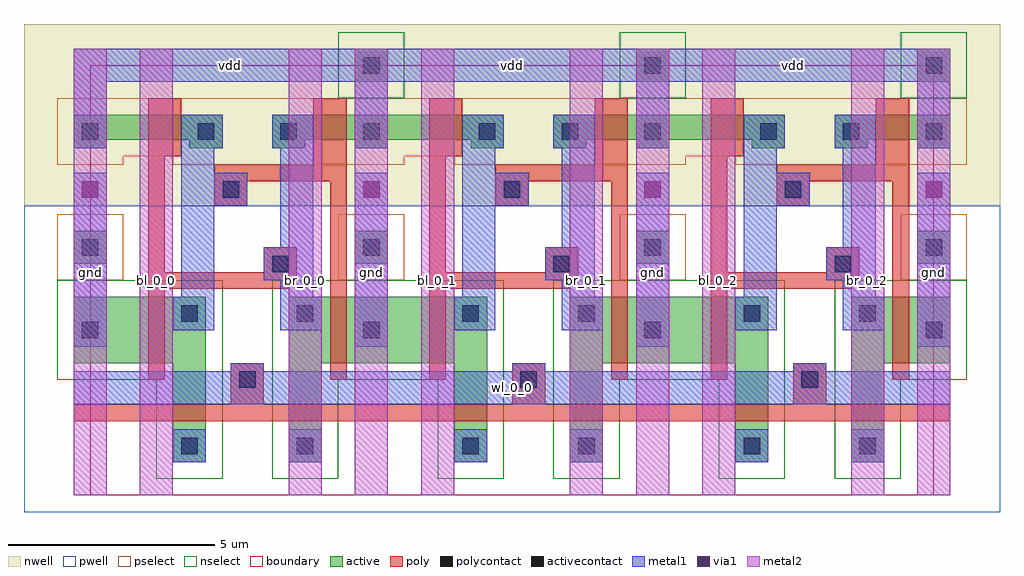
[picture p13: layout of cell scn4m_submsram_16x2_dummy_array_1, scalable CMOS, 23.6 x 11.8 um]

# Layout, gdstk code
import gdstk
lib = gdstk.Library(unit=1e-6, precision=1e-09)
def R(c, l, rs):  # rectangles x0, y0, x1, y1
    for r in rs: c.add(gdstk.rectangle(r[:2], r[2:], *l))
def A(c, l, x, y, w, h, nx, ny, dx, dy):  # array of equal rectangles
    R(c, l, [(x+i*dx, y+j*dy, x+i*dx+w, y+j*dy+h) for i in range(nx) for j in range(ny)])
pwell = (41, 0)
nwell = (42, 0)
active = (43, 0)
pselect = (44, 0)
nselect = (45, 0)
poly = (46, 0)
polycontact = (47, 0)
activecontact = (48, 0)
metal1 = (49, 0)
via1 = (50, 0)
metal2 = (51, 0)
boundary = (63, 0)

dummy_cell_1rw = lib.new_cell('dummy_cell_1rw')
R(dummy_cell_1rw, pwell, [(-1.6,-0.4,8.4,7)])
R(dummy_cell_1rw, nwell, [(-1.6,7,8.4,11.4)])
A(dummy_cell_1rw, active, 2.4, 8.4, 0.8, 0.2, 3, 1, 2, 0)
R(dummy_cell_1rw, active, [(2,0.8,2.8,3.2), (4.8,0.8,5.6,3.2), (-0.4,3.2,2.8,4.8), (4.8,3.2,7.2,4.8), (-0.4,5.6,0.4,6.4), (6.4,5.6,7.2,6.4), (-0.4,8.4,0.4,8.6), (-0.4,8.6,3.2,9.2), (4.4,8.6,7.2,9.2), (6.4,10,7.2,10.8)])
R(dummy_cell_1rw, pselect, [(-0.8,5.2,0.8,6.8), (6,5.2,7.6,6.8), (-0.8,8,0.8,8.2), (2,8,7.6,8.2), (-0.8,8.2,7.6,9.6)])
R(dummy_cell_1rw, nselect, [(1.6,0.4,3.2,2.8), (4.4,0.4,6,2.8), (-0.8,2.8,3.2,5.2), (4.4,2.8,7.6,5.2), (6,9.6,7.6,11.2)])
R(dummy_cell_1rw, poly, [(-0.4,1.8,7.2,2.2), (3.4,2.2,4.2,3.2), (1.4,2.8,1.8,5), (5.8,2.8,6.2,7.6), (1.4,5,4.8,5.2), (1.4,5.2,5,5.4), (1.4,5.4,1.8,8.2), (4.2,5.4,5,6), (3,7,3.8,7.6), (3,7.6,6.2,8), (5.4,8,6.2,9.6), (1.4,8.2,2.2,9.6)])
R(dummy_cell_1rw, polycontact, [(3.6,2.6,4,3), (4.4,5.4,4.8,5.8), (3.2,7.2,3.6,7.6)])
A(dummy_cell_1rw, activecontact, 2.6, 8.6, 0.4, 0.4, 3, 1, 2, 0)
R(dummy_cell_1rw, activecontact, [(2.2,1,2.6,1.4), (5,1,5.4,1.4), (-0.2,3.8,0.2,4.2), (6.6,3.8,7,4.2), (2.2,4.2,2.6,4.6), (5,4.2,5.4,4.6), (-0.2,5.8,0.2,6.2), (6.6,5.8,7,6.2), (-0.2,8.6,0.2,9), (6.6,10.2,7,10.6)])
R(dummy_cell_1rw, metal1, [(2,0.8,2.8,1.6), (4.8,0.8,5.6,1.6), (-0.4,2.2,7.2,3), (-0.4,2.2,7.2,3), (3.4,3,4.2,3.2), (-0.4,3.6,0.4,7.8), (6.4,3.6,7.2,7.8), (2,4,3,4.8), (4.6,4,5.6,4.8), (2.2,4.8,3,7), (4.6,4.8,5.4,5.2), (4.2,5.2,5.4,6), (4.6,6,5.4,8.4), (2.2,7,3.8,7.8), (2.2,7.8,3,8.4), (-0.4,8.4,0.4,10), (2.2,8.4,3.2,9.2), (4.4,8.4,5.4,9.2), (6.4,8.4,7.2,10), (-0.4,10,7.2,10.8), (-0.4,10,7.2,10.8)])
R(dummy_cell_1rw, via1, [(-0.2,7.2,0.2,7.6), (6.6,7.2,7,7.6)])
R(dummy_cell_1rw, metal2, [(-0.4,0,0.4,10.8), (-0.4,0,0.4,10.8), (1.2,0,2,10.8), (1.2,0,2,10.8), (4.8,0,5.6,10.8), (4.8,0,5.6,10.8), (6.4,0,7.2,10.8), (6.4,0,7.2,10.8)])
R(dummy_cell_1rw, boundary, [(0,0,6.8,10.4)])
dummy_cell_1rw.add(gdstk.Label('vdd', (3.34,10.4), layer=49, texttype=0))
dummy_cell_1rw.add(gdstk.Label('wl', (0.8,2.6), layer=49, texttype=0))
dummy_cell_1rw.add(gdstk.Label('gnd', (0,1.2), layer=51, texttype=0))
dummy_cell_1rw.add(gdstk.Label('gnd', (6.8,1.2), layer=51, texttype=0))
dummy_cell_1rw.add(gdstk.Label('bl', (1.6,9.8), layer=51, texttype=0))
dummy_cell_1rw.add(gdstk.Label('br', (5.2,9.8), layer=51, texttype=0))
dummy_cell_1rw.add(gdstk.Label('bl', (1.6,5.4), layer=51, texttype=0))
dummy_cell_1rw.add(gdstk.Label('br', (5.2,5.4), layer=51, texttype=0))
dummy_cell_1rw.add(gdstk.Label('wl', (3.4,2.6), layer=49, texttype=0))
dummy_cell_1rw.add(gdstk.Label('vdd', (3.4,10.4), layer=49, texttype=0))
dummy_cell_1rw.add(gdstk.Label('gnd', (0,5.4), layer=51, texttype=0))
dummy_cell_1rw.add(gdstk.Label('gnd', (6.8,5.4), layer=51, texttype=0))

scn4m_submsram_16x2_dumm = lib.new_cell('scn4m_submsram_16x2_dummy_array_1')
A(scn4m_submsram_16x2_dumm, metal1, -0.4, 10, 7.6, 0.8, 3, 1, 6.8, 0)
R(scn4m_submsram_16x2_dumm, metal1, [(0,2.2,20.4,3)])
A(scn4m_submsram_16x2_dumm, metal2, -0.4, 0, 0.8, 10.8, 4, 1, 6.8, 0)
R(scn4m_submsram_16x2_dumm, metal2, [(1.2,0,2,10.4), (4.8,0,5.6,10.4), (8,0,8.8,10.4), (11.6,0,12.4,10.4), (14.8,0,15.6,10.4), (18.4,0,19.2,10.4)])
R(scn4m_submsram_16x2_dumm, boundary, [(0,0,20.4,10.4)])
scn4m_submsram_16x2_dumm.add(gdstk.Reference(dummy_cell_1rw, (0,0)))
scn4m_submsram_16x2_dumm.add(gdstk.Reference(dummy_cell_1rw, (6.8,0)))
scn4m_submsram_16x2_dumm.add(gdstk.Reference(dummy_cell_1rw, (13.6,0)))
scn4m_submsram_16x2_dumm.add(gdstk.Label('bl_0_0', (1.6,5.2), layer=51, texttype=0))
scn4m_submsram_16x2_dumm.add(gdstk.Label('br_0_0', (5.2,5.2), layer=51, texttype=0))
scn4m_submsram_16x2_dumm.add(gdstk.Label('bl_0_1', (8.4,5.2), layer=51, texttype=0))
scn4m_submsram_16x2_dumm.add(gdstk.Label('br_0_1', (12,5.2), layer=51, texttype=0))
scn4m_submsram_16x2_dumm.add(gdstk.Label('bl_0_2', (15.2,5.2), layer=51, texttype=0))
scn4m_submsram_16x2_dumm.add(gdstk.Label('br_0_2', (18.8,5.2), layer=51, texttype=0))
scn4m_submsram_16x2_dumm.add(gdstk.Label('wl_0_0', (10.2,2.6), layer=49, texttype=0))
scn4m_submsram_16x2_dumm.add(gdstk.Label('vdd', (17,10.4), layer=49, texttype=0))
scn4m_submsram_16x2_dumm.add(gdstk.Label('vdd', (3.4,10.4), layer=49, texttype=0))
scn4m_submsram_16x2_dumm.add(gdstk.Label('vdd', (10.2,10.4), layer=49, texttype=0))
scn4m_submsram_16x2_dumm.add(gdstk.Label('gnd', (20.4,5.4), layer=51, texttype=0))
scn4m_submsram_16x2_dumm.add(gdstk.Label('gnd', (13.6,5.4), layer=51, texttype=0))
scn4m_submsram_16x2_dumm.add(gdstk.Label('gnd', (0,5.4), layer=51, texttype=0))
scn4m_submsram_16x2_dumm.add(gdstk.Label('gnd', (6.8,5.4), layer=51, texttype=0))

lib.write_gds('scn4m_submsram_16x2_dummy_array_1.gds')
